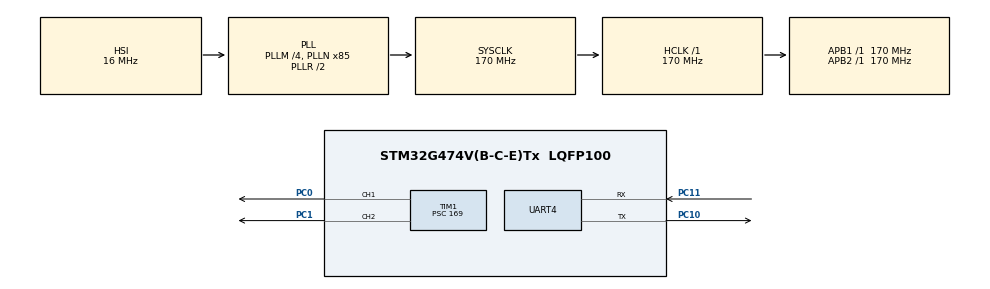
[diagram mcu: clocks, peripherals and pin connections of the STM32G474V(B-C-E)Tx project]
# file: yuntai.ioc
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Dma.Request0=UART4_RX
Dma.UART4_RX.0.Direction=DMA_PERIPH_TO_MEMORY
Dma.UART4_RX.0.EventEnable=DISABLE
Dma.UART4_RX.0.Instance=DMA1_Channel1
Dma.UART4_RX.0.MemDataAlignment=DMA_MDATAALIGN_BYTE
Dma.UART4_RX.0.MemInc=DMA_MINC_ENABLE
Dma.UART4_RX.0.Mode=DMA_NORMAL
Dma.UART4_RX.0.PeriphDataAlignment=DMA_PDATAALIGN_BYTE
Dma.UART4_RX.0.PeriphInc=DMA_PINC_DISABLE
Dma.UART4_RX.0.Polarity=HAL_DMAMUX_REQ_GEN_RISING
Dma.UART4_RX.0.Priority=DMA_PRIORITY_LOW
Dma.UART4_RX.0.RequestNumber=1
Dma.UART4_RX.0.SignalID=NONE
Dma.UART4_RX.0.SyncEnable=DISABLE
Dma.UART4_RX.0.SyncPolarity=HAL_DMAMUX_SYNC_NO_EVENT
Dma.UART4_RX.0.SyncRequestNumber=1
Dma.UART4_RX.0.SyncSignalID=NONE
Mcu.Family=STM32G4
Mcu.Name=STM32G474V(B-C-E)Tx
Mcu.Package=LQFP100
NVIC.DMA1_Channel1_IRQn=true\:0\:0\:false\:false\:true\:false\:true\:true
NVIC.PriorityGroup=NVIC_PRIORITYGROUP_4
NVIC.TIM6_DAC_IRQn=true\:0\:0\:false\:false\:true\:true\:true\:true
NVIC.UART4_IRQn=true\:0\:0\:false\:false\:true\:true\:true\:true
PA13.Mode=Serial_Wire
PA13.Signal=SYS_JTMS-SWDIO
PA14.Mode=Serial_Wire
PA14.Signal=SYS_JTCK-SWCLK
PC0.Signal=S_TIM1_CH1
PC1.Signal=S_TIM1_CH2
PC10.Mode=Asynchronous
PC10.Signal=UART4_TX
PC11.Mode=Asynchronous
PC11.Signal=UART4_RX
PF0-OSC_IN.Mode=HSE-External-Oscillator
PF0-OSC_IN.Signal=RCC_OSC_IN
PF1-OSC_OUT.Mode=HSE-External-Oscillator
PF1-OSC_OUT.Signal=RCC_OSC_OUT
ProjectManager.HeapSize=0x200
ProjectManager.StackSize=0x400
ProjectManager.TargetToolchain=CMake
RCC.ADC12Freq_Value=170000000
RCC.ADC345Freq_Value=170000000
RCC.AHBFreq_Value=170000000
RCC.APB1Freq_Value=170000000
RCC.APB1TimFreq_Value=170000000
RCC.APB2Freq_Value=170000000
RCC.APB2TimFreq_Value=170000000
RCC.CortexFreq_Value=170000000
RCC.EXTERNAL_CLOCK_VALUE=12288000
RCC.HCLKFreq_Value=170000000
RCC.HSE_VALUE=8000000
RCC.HSI48_VALUE=48000000
RCC.HSI_VALUE=16000000
RCC.LSE_VALUE=32768
RCC.PLLM=RCC_PLLM_DIV4
RCC.PLLN=85
RCC.SYSCLKFreq_VALUE=170000000
RCC.SYSCLKSource=RCC_SYSCLKSOURCE_PLLCLK
RCC.USBFreq_Value=170000000
RCC.VCOOutputFreq_Value=340000000
SH.S_TIM1_CH1.0=TIM1_CH1,PWM Generation1 CH1
SH.S_TIM1_CH2.0=TIM1_CH2,PWM Generation2 CH2
TIM1.AutoReloadPreload=TIM_AUTORELOAD_PRELOAD_ENABLE
TIM1.Channel-PWM\ Generation1\ CH1=TIM_CHANNEL_1
TIM1.Channel-PWM\ Generation2\ CH2=TIM_CHANNEL_2
TIM1.PeriodNoDither=19999
TIM1.Prescaler=169
TIM6.AutoReloadPreload=TIM_AUTORELOAD_PRELOAD_ENABLE
TIM6.PeriodNoDither=19999
TIM6.Prescaler=169
VP_SYS_VS_DBSignals.Mode=DisableDeadBatterySignals
VP_TIM1_VS_ClockSourceINT.Mode=Internal
VP_TIM6_VS_ClockSourceINT.Mode=Enable_Timer
board=custom

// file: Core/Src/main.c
/* USER CODE BEGIN Header */
/**
  ******************************************************************************
  * @file           : main.c
  * @brief          : Main program body
  ******************************************************************************
  * @attention
  *
  * Copyright (c) 2026 STMicroelectronics.
  * All rights reserved.
  *
  * This software is licensed under terms that can be found in the LICENSE file
  * in the root directory of this software component.
  * If no LICENSE file comes with this software, it is provided AS-IS.
  *
  ******************************************************************************
  */
/* USER CODE END Header */
#include "main.h"
#include "dma.h"
#include "tim.h"
#include "usart.h"
#include "gpio.h"

/* USER CODE BEGIN Includes */
#include "servo.h" // 包含舵机控制头文件
/* USER CODE END Includes */

/* USER CODE BEGIN PV */
#define RX_BUFFER_SIZE 32
uint8_t rx_buffer[RX_BUFFER_SIZE];

// 全局变量，用于存储 OpenMV 传来的巡线数据
int16_t line_err_d = 0;
int16_t line_angle = 0;
uint8_t line_corner = 0;
/* USER CODE END PV */

void SystemClock_Config(void);

int main(void)
{

  /* MCU Configuration--------------------------------------------------------*/

  /* Reset of all peripherals, Initializes the Flash interface and the Systick. */
  HAL_Init();

  /* Configure the system clock */
  SystemClock_Config();

  /* Initialize all configured peripherals */
  MX_GPIO_Init();
  MX_DMA_Init();
  MX_TIM1_Init();
  MX_UART4_Init();
  MX_TIM6_Init();
  /* USER CODE BEGIN 2 */
  Servo_Init();
  HAL_TIM_Base_Start_IT(&htim6); // 启动算法引擎定时器
  // 启动串口 DMA 空闲中断接收 (核心步骤)
  HAL_UARTEx_ReceiveToIdle_DMA(&huart4, rx_buffer, RX_BUFFER_SIZE);
  /* USER CODE END 2 */

  /* Infinite loop */
  while (1)
  {

  }
}

void SystemClock_Config(void)
{
  RCC_OscInitTypeDef RCC_OscInitStruct = {0};
  RCC_ClkInitTypeDef RCC_ClkInitStruct = {0};

  /** Configure the main internal regulator output voltage
  */
  HAL_PWREx_ControlVoltageScaling(PWR_REGULATOR_VOLTAGE_SCALE1_BOOST);

  /** Initializes the RCC Oscillators according to the specified parameters
  * in the RCC_OscInitTypeDef structure.
  */
  RCC_OscInitStruct.OscillatorType = RCC_OSCILLATORTYPE_HSI;
  RCC_OscInitStruct.HSIState = RCC_HSI_ON;
  RCC_OscInitStruct.HSICalibrationValue = RCC_HSICALIBRATION_DEFAULT;
  RCC_OscInitStruct.PLL.PLLState = RCC_PLL_ON;
  RCC_OscInitStruct.PLL.PLLSource = RCC_PLLSOURCE_HSI;
  RCC_OscInitStruct.PLL.PLLM = RCC_PLLM_DIV4;
  RCC_OscInitStruct.PLL.PLLN = 85;
  RCC_OscInitStruct.PLL.PLLP = RCC_PLLP_DIV2;
  RCC_OscInitStruct.PLL.PLLQ = RCC_PLLQ_DIV2;
  RCC_OscInitStruct.PLL.PLLR = RCC_PLLR_DIV2;
  if (HAL_RCC_OscConfig(&RCC_OscInitStruct) != HAL_OK)
  {
    Error_Handler();
  }

  /** Initializes the CPU, AHB and APB buses clocks
  */
  RCC_ClkInitStruct.ClockType = RCC_CLOCKTYPE_HCLK|RCC_CLOCKTYPE_SYSCLK
                              |RCC_CLOCKTYPE_PCLK1|RCC_CLOCKTYPE_PCLK2;
  RCC_ClkInitStruct.SYSCLKSource = RCC_SYSCLKSOURCE_PLLCLK;
  RCC_ClkInitStruct.AHBCLKDivider = RCC_SYSCLK_DIV1;
  RCC_ClkInitStruct.APB1CLKDivider = RCC_HCLK_DIV1;
  RCC_ClkInitStruct.APB2CLKDivider = RCC_HCLK_DIV1;

  if (HAL_RCC_ClockConfig(&RCC_ClkInitStruct, FLASH_LATENCY_4) != HAL_OK)
  {
    Error_Handler();
  }
}

/* USER CODE BEGIN 4 */

extern int16_t target_x; // 引用你在开头定义的全局变量
extern int16_t target_y;

// TIM6 算法调度引擎
void HAL_TIM_PeriodElapsedCallback(TIM_HandleTypeDef *htim)
{
    if (htim->Instance == TIM6)
    {
        // 直接调用巡线算法，将最新的视觉数据喂给它
        Servo_LineFollow_Task(line_err_d, line_angle, line_corner);
    }
}
// DMA 接收回调
void HAL_UARTEx_RxEventCallback(UART_HandleTypeDef *huart, uint16_t Size)
{
    if (huart->Instance == UART4)
    {
        // 校验 7 字节数据帧
        if (Size >= 7 && rx_buffer[0] == 0xA5 && rx_buffer[Size - 1] == 0x5A)
        {
            // 解析偏差 err_d
            line_err_d = (int16_t)((rx_buffer[1] << 8) | rx_buffer[2]);
            // 解析角度 angle
            line_angle = (int16_t)((rx_buffer[3] << 8) | rx_buffer[4]);
            // 解析拐点标志
            line_corner = rx_buffer[5];
        }
        HAL_UARTEx_ReceiveToIdle_DMA(&huart4, rx_buffer, RX_BUFFER_SIZE);
    }
}
/* USER CODE END 4 */

void Error_Handler(void)
{
  __disable_irq();
  while (1)
  {
  }
}
